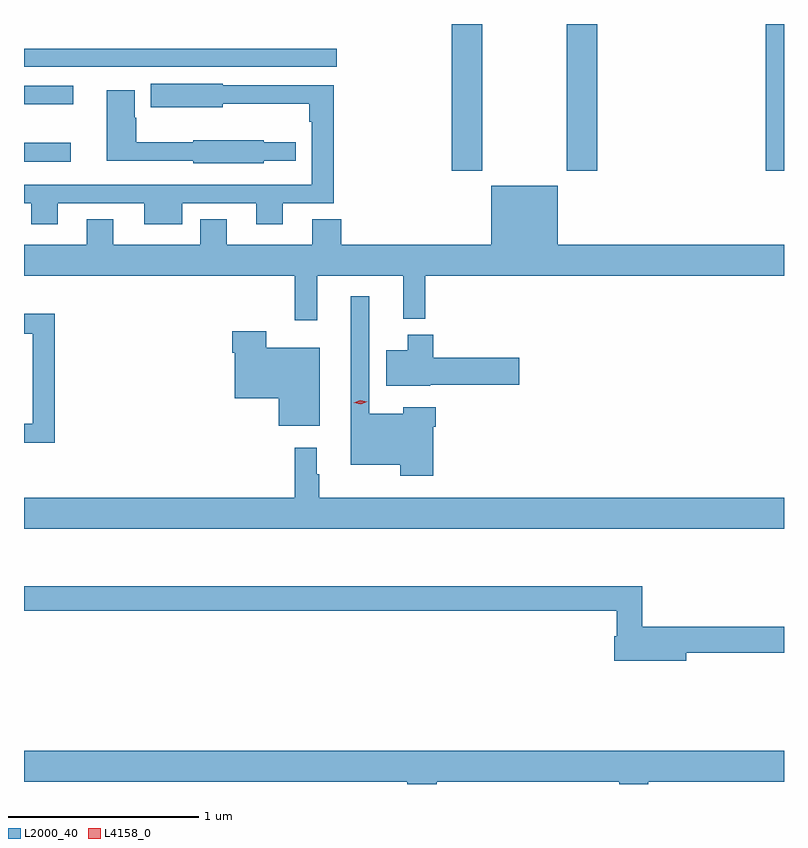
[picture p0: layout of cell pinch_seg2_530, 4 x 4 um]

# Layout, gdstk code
import gdstk
lib = gdstk.Library(unit=1e-6, precision=1e-09)
def R(c, l, rs):  # rectangles x0, y0, x1, y1
    for r in rs: c.add(gdstk.rectangle(r[:2], r[2:], *l))
def P(c, l, *ps):  # polygons
    for p in ps: c.add(gdstk.Polygon(p, *l))
L2000_40 = (2000, 40)
L4158_0 = (4158, 0)

pinch_seg2_530 = lib.new_cell('pinch_seg2_530')
R(pinch_seg2_530, L2000_40, [(1121.753,622.881,1121.913,623.653), (1122.358,622.881,1122.518,623.653), (1123.406,622.881,1123.502,623.653), (1119.502,622.928,1119.748,623.029), (1119.502,623.231,1119.76,623.328), (1119.502,623.427,1121.149,623.524)])
P(pinch_seg2_530, L2000_40, [(1119.679,622.71),(1120.136,622.71),(1120.136,622.598),(1120.336,622.598),(1120.336,622.71),(1120.724,622.71),(1120.724,622.598),(1120.864,622.598),(1120.864,622.71),(1121.132,622.71),(1121.132,623.331),(1120.548,623.331),(1120.548,623.338),(1120.169,623.338),(1120.169,623.216),(1120.548,623.216),(1120.548,623.234),(1121.004,623.234),(1121.004,623.138),(1121.016,623.138),(1121.016,622.806),(1119.502,622.806),(1119.502,622.71),(1119.539,622.71),(1119.539,622.598),(1119.679,622.598)],
  [(1120.764,622.932),(1120.931,622.932),(1120.931,623.03),(1120.764,623.03),(1120.764,623.041),(1120.392,623.041),(1120.392,623.03),(1120.092,623.03),(1120.092,623.159),(1120.084,623.159),(1120.084,623.305),(1119.938,623.305),(1119.938,622.932),(1120.392,622.932),(1120.392,622.919),(1120.764,622.919)],
  [(1121.045,622.328),(1121.498,622.328),(1121.498,622.103),(1121.615,622.103),(1121.615,622.328),(1123.502,622.328),(1123.502,622.492),(1122.31,622.492),(1122.31,622.801),(1121.96,622.801),(1121.96,622.492),(1121.171,622.492),(1121.171,622.625),(1121.018,622.625),(1121.018,622.492),(1120.57,622.492),(1120.57,622.625),(1120.43,622.625),(1120.43,622.492),(1119.973,622.492),(1119.973,622.625),(1119.833,622.625),(1119.833,622.492),(1119.502,622.492),(1119.502,622.328),(1120.927,622.328),(1120.927,622.095),(1121.045,622.095)],
  [(1121.656,621.533),(1121.669,621.533),(1121.669,621.637),(1121.498,621.637),(1121.498,621.601),(1121.319,621.601),(1121.319,622.219),(1121.222,622.219),(1121.222,621.332),(1121.481,621.332),(1121.481,621.275),(1121.656,621.275)],
  [(1119.665,622.129),(1119.502,622.129),(1119.502,622.023),(1119.549,622.023),(1119.549,621.549),(1119.502,621.549),(1119.502,621.448),(1119.665,621.448)],
  [(1121.059,621.949),(1120.776,621.949),(1120.776,622.036),(1120.598,622.036),(1120.598,621.923),(1120.61,621.923),(1120.61,621.683),(1120.844,621.683),(1120.844,621.539),(1121.059,621.539)],
  [(1121.64,621.755),(1122.109,621.755),(1122.109,621.897),(1121.657,621.897),(1121.657,622.018),(1121.522,622.018),(1121.522,621.937),(1121.408,621.937),(1121.408,621.749),(1121.64,621.749)],
  [(1123.502,621.16),(1121.056,621.16),(1121.056,621.284),(1121.044,621.284),(1121.044,621.424),(1120.927,621.424),(1120.927,621.16),(1119.502,621.16),(1119.502,620.996),(1123.502,620.996)],
  [(1122.988,620.344),(1123.502,620.344),(1123.502,620.48),(1122.755,620.48),(1122.755,620.695),(1119.502,620.695),(1119.502,620.566),(1122.623,620.566),(1122.623,620.431),(1122.608,620.431),(1122.608,620.302),(1122.988,620.302)],
  [(1121.675,619.664),(1122.635,619.664),(1122.635,619.653),(1122.788,619.653),(1122.788,619.664),(1123.502,619.664),(1123.502,619.828),(1119.502,619.828),(1119.502,619.664),(1121.519,619.664),(1121.519,619.653),(1121.675,619.653)])
P(pinch_seg2_530, L4158_0, [(1121.274,621.652),(1121.238,621.659),(1121.238,621.659),(1121.238,621.659),(1121.272,621.672),(1121.308,621.665),(1121.309,621.664),(1121.308,621.664)])

lib.write_gds('pinch_seg2_530.gds')
